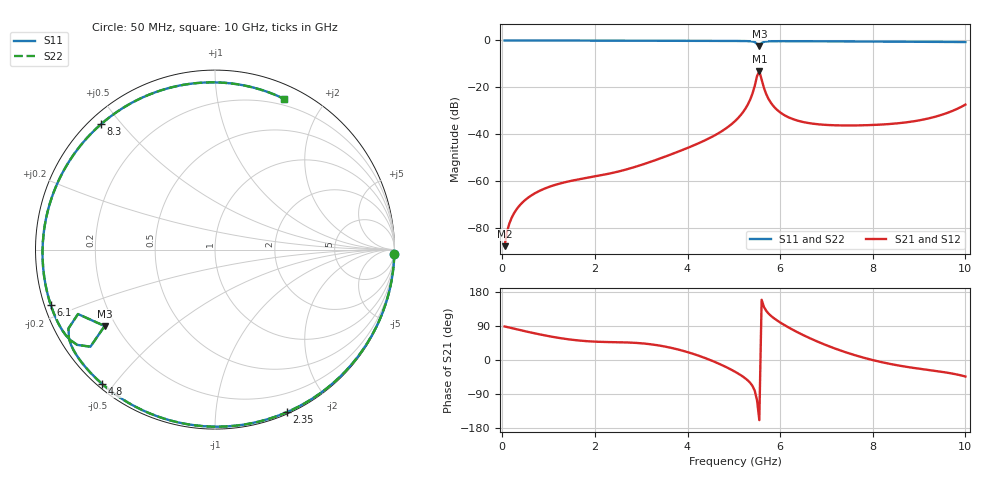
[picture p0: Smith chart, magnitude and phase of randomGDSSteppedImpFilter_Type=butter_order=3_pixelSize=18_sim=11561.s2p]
! freq	dB(S11)	phase(S11)	dB(S12)	phase(S12)
!  dB(S21)	phase(S21)	dB(S22)	phase(S22)
!S-par simulation data
#  GHz  S  DB  R 50
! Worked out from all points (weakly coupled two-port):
!   200 points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, 50 MHz to 10 GHz, reference 50 ohm
!   highest |S21| = -13.08 dB at 5.55 GHz (marker M1); lowest = -87.7 dB at 50 MHz (marker M2)
!   lowest |S11| = -2.5 dB at 5.55 GHz (marker M3), VSWR 6.94, Z = 7.9 - j15.3 ohm
!   |S11| at or under -10 dB: nowhere
!   |S22| runs from -2.5 to 0.0 dB; largest |S21 - S12| = 0
!   S11 on the Smith chart (normalised r, x): 50 MHz: 1, -78; 2.35 GHz: 0.02, -1.54; 4.8 GHz: 0.01, -0.47; 6.1 GHz: 0.02, -0.17; 8.3 GHz: 0.03, +0.44; 10 GHz: 0.13, +1.54
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0.05  -0.00 -1.5  -87.73 88.5  -87.73 88.5  -0.00 -1.5
0.1  -0.01 -2.9  -81.72 87.1  -81.72 87.1  -0.01 -2.9
0.35  -0.01 -10.1  -70.93 79.9  -70.93 79.9  -0.01 -10.1
0.65  -0.02 -18.8  -65.81 71.7  -65.81 71.7  -0.02 -18.8
1.75  -0.06 -49.7  -58.87 50.4  -58.87 50.4  -0.06 -49.7
2.35  -0.08 -66.1  -56.62 47.2  -56.62 47.2  -0.08 -66.1
3.4  -0.12 -93.8  -50.37 38.0  -50.37 38.0  -0.12 -93.8
4.8  -0.20 -129.9  -37.92 -16.7  -37.92 -16.7  -0.20 -129.9
5.05  -0.22 -136.7  -33.93 -32.7  -33.93 -32.7  -0.22 -136.7
5.35  -0.33 -146.4  -25.34 -59.9  -25.34 -59.9  -0.33 -146.4
5.45  -0.66 -151.7  -19.50 -80.5  -19.50 -80.5  -0.66 -151.7
5.5  -1.48 -154.8  -15.26 -105.7  -15.26 -105.7  -1.48 -154.8
5.55  -2.52 -145.3  -13.08 -158.6  -13.08 -158.6  -2.52 -145.3
5.6  -1.11 -142.1  -16.60 158.9  -16.60 158.9  -1.11 -142.1
5.75  -0.37 -150.2  -24.98 122.4  -24.98 122.4  -0.37 -150.2
6.1  -0.30 -161.3  -31.96 91.6  -31.96 91.6  -0.30 -161.3
6.7  -0.34 -178.2  -35.48 54.3  -35.48 54.3  -0.34 -178.2
7.5  -0.42 158.2  -36.26 17.0  -36.26 17.0  -0.42 158.2
8.3  -0.50 132.1  -35.72 -8.6  -35.72 -8.6  -0.50 132.1
8.35  -0.51 130.4  -35.65 -9.8  -35.65 -9.8  -0.51 130.4
9.25  -0.60 97.0  -33.04 -27.1  -33.04 -27.1  -0.60 97.0
10  -0.69 65.6  -27.37 -43.6  -27.37 -43.6  -0.69 65.6
